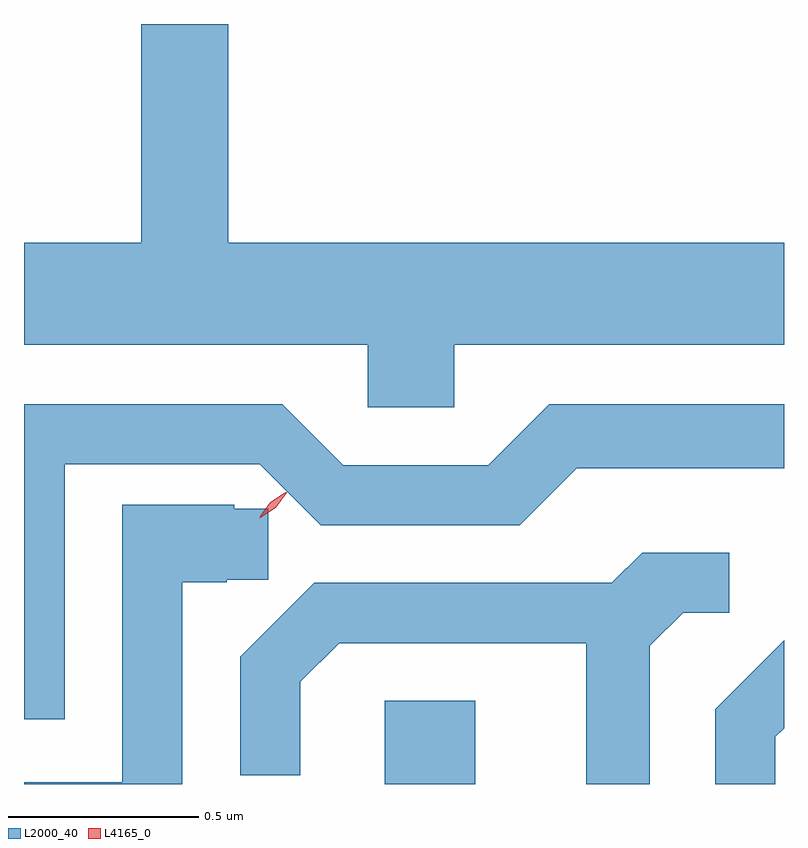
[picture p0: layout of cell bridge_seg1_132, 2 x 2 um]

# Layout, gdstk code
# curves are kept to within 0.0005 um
import gdstk
lib = gdstk.Library(unit=1e-6, precision=1e-09)
def R(c, l, rs):  # rectangles x0, y0, x1, y1
    for r in rs: c.add(gdstk.rectangle(r[:2], r[2:], *l))
def P(c, l, *ps):  # polygons
    for p in ps: c.add(gdstk.Polygon(p, *l))
L2000_40 = (2000, 40)
L4165_0 = (4165, 0)

bridge_seg1_132 = lib.new_cell('bridge_seg1_132')
R(bridge_seg1_132, L2000_40, [(1283.321,967.24,1283.559,967.459)])
P(bridge_seg1_132, L2000_40, [(1283.504,968.396),(1284.372,968.396),(1284.372,968.664),(1282.909,968.664),(1282.909,969.24),(1282.681,969.24),(1282.681,968.664),(1282.372,968.664),(1282.372,968.396),(1283.276,968.396),(1283.276,968.231),(1283.504,968.231)],
  [(1282.479,968.081),(1282.993,968.081),(1283.153,967.921),(1283.677,967.921),(1283.827,968.071),(1284.372,968.071),(1284.372,968.239),(1283.754,968.239),(1283.594,968.079),(1283.212,968.079),(1283.052,968.239),(1282.372,968.239),(1282.372,967.411),(1282.479,967.411)],
  [(1282.789,967.771),(1282.905,967.771),(1282.905,967.778),(1283.015,967.778),(1283.015,967.965),(1282.925,967.965),(1282.925,967.975),(1282.631,967.975),(1282.631,967.244),(1282.372,967.244),(1282.372,967.24),(1282.789,967.24)],
  [(1284.019,967.604),(1284.107,967.691),(1284.228,967.691),(1284.228,967.849),(1283.999,967.849),(1283.919,967.769),(1283.136,967.769),(1282.941,967.575),(1282.941,967.263),(1283.099,967.263),(1283.099,967.509),(1283.202,967.611),(1283.851,967.611),(1283.851,967.24),(1284.019,967.24)],
  [(1284.349,967.364),(1284.372,967.387),(1284.372,967.618),(1284.191,967.437),(1284.191,967.24),(1284.349,967.24)])
P(bridge_seg1_132, L4165_0, [(1282.993,967.941),(1282.993,967.942),(1283.021,967.981),(1283.062,968.008),(1283.063,968.008),(1283.063,968.007),(1283.035,967.967),(1282.994,967.941)],
  [(1282.994,967.943),(1282.994,967.944),(1283.02,967.982),(1283.059,968.008),(1283.06,968.008),(1283.06,968.007),(1283.034,967.968),(1282.995,967.943)])

lib.write_gds('bridge_seg1_132.gds')
